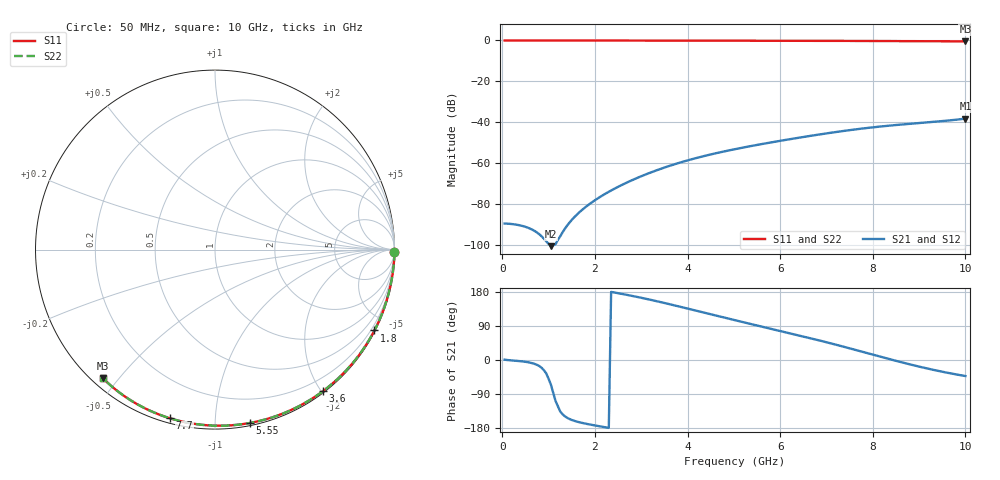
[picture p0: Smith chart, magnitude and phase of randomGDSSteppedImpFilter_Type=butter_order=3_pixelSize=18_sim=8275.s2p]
! freq	dB(S11)	phase(S11)	dB(S12)	phase(S12)
!  dB(S21)	phase(S21)	dB(S22)	phase(S22)
!S-par simulation data
#  GHz  S  DB  R 50
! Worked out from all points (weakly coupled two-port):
!   200 points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, 50 MHz to 10 GHz, reference 50 ohm
!   highest |S21| = -38.29 dB at 10 GHz (marker M1); lowest = -100.8 dB at 1.05 GHz (marker M2)
!   lowest |S11| = -0.4 dB at 10 GHz (marker M3), VSWR 39.10, Z = 1.54 - j22.6 ohm
!   |S11| at or under -10 dB: nowhere
!   |S22| runs from -0.4 to 0.0 dB; largest |S21 - S12| = 0
!   S11 on the Smith chart (normalised r, x): 50 MHz: open; 1.8 GHz: 0.04, -4.18; 3.6 GHz: 0.02, -2.02; 5.55 GHz: 0.02, -1.22; 7.7 GHz: 0.02, -0.77; 10 GHz: 0.03, -0.45
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0.05  -0.00 -0.8  -89.69 1.0  -89.69 1.0  -0.00 -0.8
0.55  -0.01 -8.3  -91.70 -5.7  -91.70 -5.7  -0.01 -8.3
1.05  -0.02 -15.8  -100.77 -65.2  -100.77 -65.2  -0.02 -15.8
1.75  -0.03 -26.2  -82.47 -166.8  -82.47 -166.8  -0.03 -26.2
1.8  -0.03 -26.9  -81.56 -168.1  -81.56 -168.1  -0.03 -26.9
1.9  -0.04 -28.4  -79.85 -170.5  -79.85 -170.5  -0.04 -28.4
2.05  -0.04 -30.6  -77.52 -173.8  -77.52 -173.8  -0.04 -30.6
2.25  -0.04 -33.5  -74.76 -178.1  -74.76 -178.1  -0.04 -33.5
2.65  -0.05 -39.2  -70.03 172.9  -70.03 172.9  -0.05 -39.2
3  -0.06 -44.2  -66.52 164.2  -66.52 164.2  -0.06 -44.2
3.4  -0.07 -49.8  -63.05 153.4  -63.05 153.4  -0.07 -49.8
3.6  -0.07 -52.6  -61.51 147.6  -61.51 147.6  -0.07 -52.6
3.9  -0.08 -56.7  -59.40 138.7  -59.40 138.7  -0.08 -56.7
4.25  -0.09 -61.5  -57.23 128.2  -57.23 128.2  -0.09 -61.5
5.05  -0.11 -72.1  -53.13 104.3  -53.13 104.3  -0.11 -72.1
5.55  -0.13 -78.6  -50.97 89.8  -50.97 89.8  -0.13 -78.6
6.1  -0.15 -85.5  -48.78 73.9  -48.78 73.9  -0.15 -85.5
6.7  -0.18 -92.9  -46.57 56.1  -46.57 56.1  -0.18 -92.9
7.7  -0.24 -104.9  -43.35 24.2  -43.35 24.2  -0.24 -104.9
8.35  -0.29 -112.5  -41.74 2.7  -41.74 2.7  -0.29 -112.5
9.15  -0.35 -121.6  -40.18 -21.7  -40.18 -21.7  -0.35 -121.6
10  -0.44 -131.2  -38.29 -42.3  -38.29 -42.3  -0.44 -131.2
